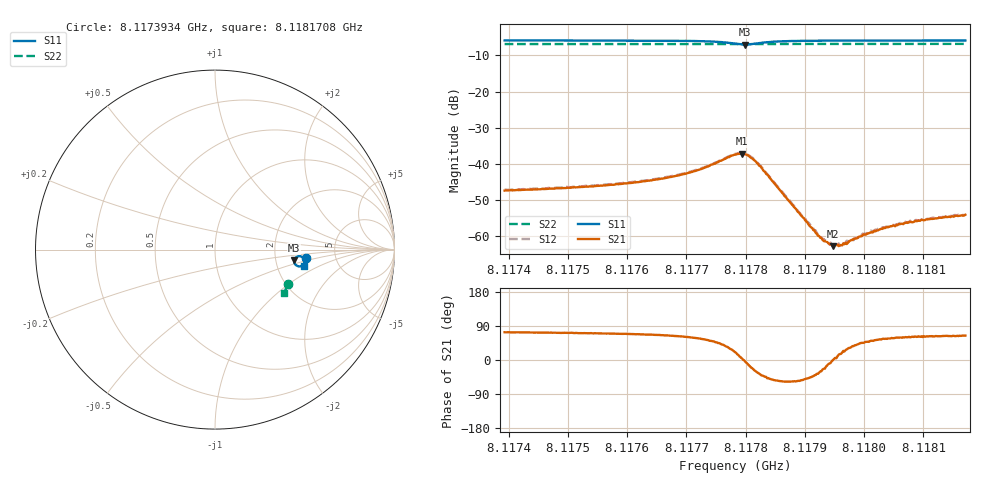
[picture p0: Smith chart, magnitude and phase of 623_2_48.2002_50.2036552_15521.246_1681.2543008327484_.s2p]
#  HZ  S  RI  R  50.00
! Rohde & Schwarz Vector Network Analyzer
! Rohde-Schwarz,ZNB20-2Port,1311601062101988,3.16
! Created: UTC 3/20/2024, 12:03:59 PM
! freq[Hz]  re:S11  im:S11  re:S21  im:S21  re:S12  im:S12  re:S22  im:S22
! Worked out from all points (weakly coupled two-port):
!   401 points, 8.1173934 GHz to 8.1181708 GHz, reference 50 ohm
!   highest |S21| = -37.13 dB at 8.1177938 GHz (marker M1); lowest = -62.7 dB at 8.1179473 GHz (marker M2)
!   lowest |S11| = -7.0 dB at 8.1177996 GHz (marker M3), VSWR 2.61, Z = 127 - j19.2 ohm
!   |S11| at or under -10 dB: nowhere
!   |S22| runs from -6.9 to -6.8 dB; largest |S21 - S12| = 0.00054
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8.11739337e9  0.5049 -0.0454  0.00124 0.00411  0.0013 0.00423  0.4085 -0.1944
8.11752359e9  0.5029 -0.0575  0.00158 0.00456  0.00161 0.00459  0.4048 -0.2029
8.11765382e9  0.4985 -0.073  0.0025 0.00566  0.00257 0.00579  0.4007 -0.2113
8.11772185e9  0.4893 -0.0858  0.00457 0.007  0.0047 0.00715  0.3981 -0.2158
8.1177821e9  0.4501 -0.0856  0.0126 0.00479  0.0129 0.00488  0.3948 -0.2188
8.11779376e9  0.4417 -0.0703  0.0139 0.00101  0.0141 0.001  0.3942 -0.2188
8.1177996e9  0.4414 -0.0605  0.0135 -0.00109  0.0138 -0.00106  0.3942 -0.2187
8.11781126e9  0.4505 -0.044  0.011 -0.00443  0.0114 -0.0047  0.3942 -0.2187
8.11782486e9  0.4668 -0.0366  0.00732 -0.00575  0.00755 -0.00584  0.3947 -0.2195
8.11791233e9  0.4988 -0.0605  0.000945 -0.000903  0.000957 -0.000942  0.3932 -0.226
8.11792205e9  0.4992 -0.0625  0.000825 -0.000611  0.000892 -0.000591  0.3929 -0.2268
8.11793371e9  0.4996 -0.0647  0.000792 -0.000333  0.000811 -0.000343  0.3926 -0.2275
8.11794148e9  0.4998 -0.066  0.000779 -0.000129  0.000761 -0.000149  0.3924 -0.2281
8.11794731e9  0.4998 -0.067  0.000735 -6.7e-06  0.000799 7.04e-07  0.3921 -0.2284
8.11795509e9  0.4999 -0.0683  0.000756 0.000135  0.000734 0.000172  0.3916 -0.2289
8.11796675e9  0.4999 -0.07  0.00072 0.0003  0.000714 0.000352  0.3913 -0.2296
8.11797841e9  0.5 -0.0716  0.000741 0.000502  0.000707 0.000486  0.3911 -0.2305
8.11800174e9  0.5 -0.0746  0.000716 0.000784  0.000753 0.000804  0.3903 -0.232
8.11804255e9  0.4998 -0.0795  0.000748 0.00114  0.00076 0.00114  0.3889 -0.2346
8.11806588e9  0.4994 -0.0818  0.000739 0.00128  0.000776 0.00139  0.388 -0.236
8.11811836e9  0.4988 -0.087  0.000824 0.00157  0.000825 0.00161  0.3863 -0.2392
8.11817084e9  0.498 -0.0917  0.000866 0.0018  0.000887 0.00179  0.3844 -0.2426
